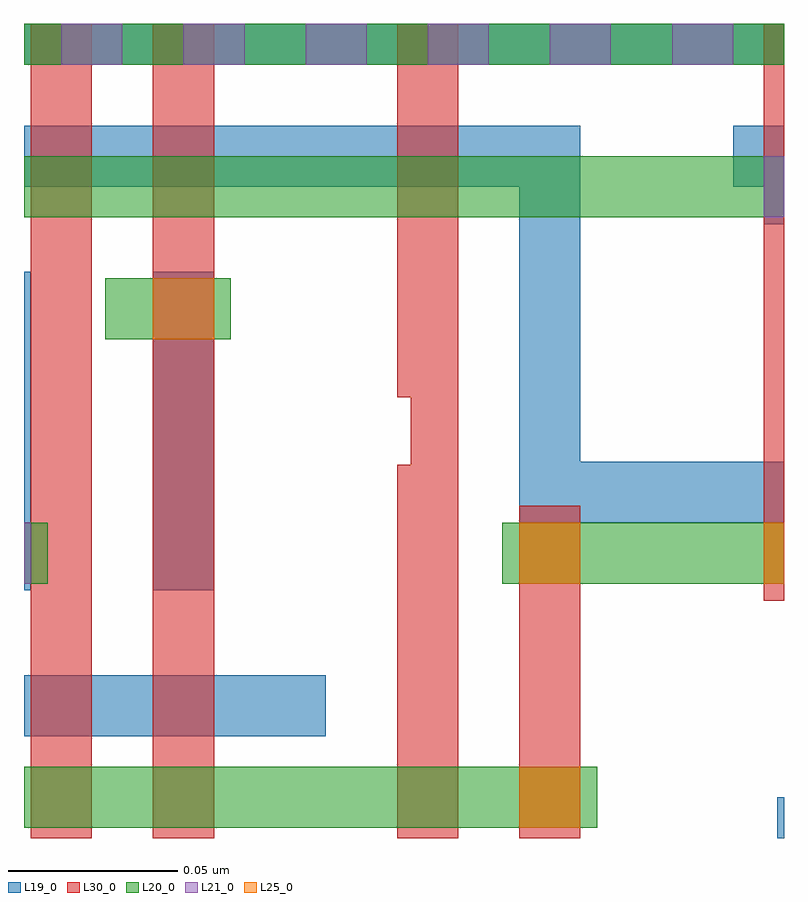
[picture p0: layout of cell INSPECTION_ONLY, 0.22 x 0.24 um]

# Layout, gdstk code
import gdstk
lib = gdstk.Library(unit=1e-6, precision=2.5e-10)
def R(c, l, rs):  # rectangles x0, y0, x1, y1
    for r in rs: c.add(gdstk.rectangle(r[:2], r[2:], *l))
def A(c, l, x, y, w, h, nx, ny, dx, dy):  # array of equal rectangles
    R(c, l, [(x+i*dx, y+j*dy, x+i*dx+w, y+j*dy+h) for i in range(nx) for j in range(ny)])
def P(c, l, *ps):  # polygons
    for p in ps: c.add(gdstk.Polygon(p, *l))
L19_0 = (19, 0)
L20_0 = (20, 0)
L21_0 = (21, 0)
L25_0 = (25, 0)
L30_0 = (30, 0)

inspection_only = lib.new_cell('INSPECTION_ONLY')
R(inspection_only, L19_0, [(2.416,2.463,2.418,2.475), (2.194,2.493,2.283,2.511), (2.194,2.536,2.196,2.558), (2.194,2.536,2.196,2.63), (2.232,2.536,2.25,2.63), (2.232,2.608,2.25,2.63), (2.412,2.644,2.418,2.666), (2.403,2.655,2.418,2.673), (2.194,2.691,2.418,2.703), (2.194,2.691,2.418,2.703), (2.194,2.691,2.418,2.703), (2.194,2.691,2.214,2.703), (2.214,2.691,2.418,2.703)])
P(inspection_only, L19_0, [(2.34,2.556),(2.34,2.655),(2.194,2.655),(2.194,2.673),(2.358,2.673),(2.358,2.574),(2.418,2.574),(2.418,2.556)])
R(inspection_only, L20_0, [(2.194,2.466,2.363,2.484), (2.194,2.538,2.201,2.556), (2.335,2.538,2.418,2.556), (2.218,2.61,2.255,2.628), (2.194,2.646,2.418,2.664), (2.194,2.691,2.418,2.703)])
A(inspection_only, L21_0, 2.205, 2.691, 0.018, 0.012, 6, 1, 0.036, 0)
R(inspection_only, L21_0, [(2.194,2.538,2.196,2.556), (2.232,2.61,2.25,2.628), (2.412,2.646,2.418,2.664)])
R(inspection_only, L25_0, [(2.34,2.466,2.358,2.484), (2.34,2.538,2.358,2.556), (2.412,2.538,2.418,2.556), (2.232,2.61,2.25,2.628)])
R(inspection_only, L30_0, [(2.196,2.463,2.214,2.703), (2.232,2.463,2.25,2.703), (2.34,2.463,2.358,2.561), (2.412,2.533,2.418,2.703)])
P(inspection_only, L30_0, [(2.304,2.463),(2.304,2.573),(2.308,2.573),(2.308,2.593),(2.304,2.593),(2.304,2.703),(2.322,2.703),(2.322,2.463)])

lib.write_gds('INSPECTION_ONLY.gds')
